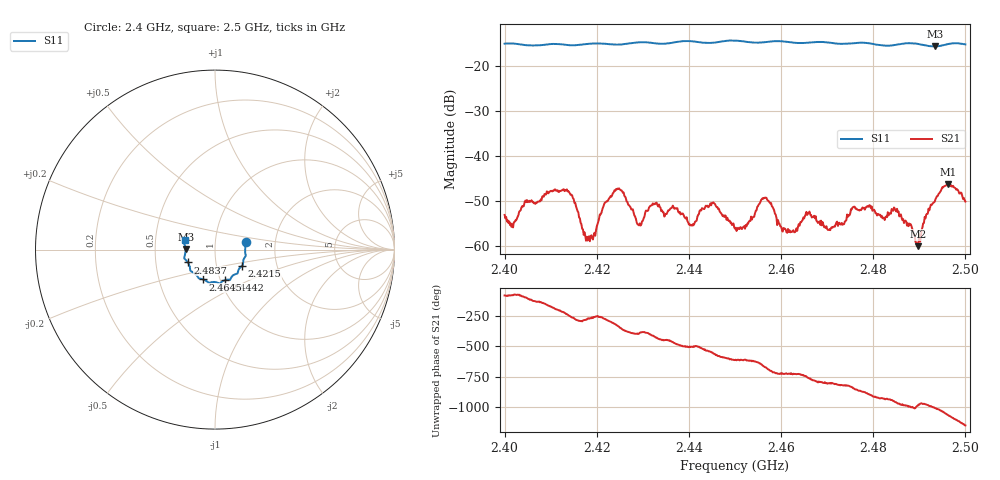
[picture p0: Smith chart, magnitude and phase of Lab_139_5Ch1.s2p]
# Hz S RI R 50
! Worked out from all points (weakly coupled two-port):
!   601 points, 2.4 GHz to 2.5 GHz, reference 50 ohm
!   highest |S21| = -46.19 dB at 2.4962 GHz (marker M1); lowest = -60.0 dB at 2.4897 GHz (marker M2)
!   lowest |S11| = -15.7 dB at 2.4933 GHz (marker M3), VSWR 1.39, Z = 35.9 + j0.109 ohm
!   |S11| at or under -10 dB: start of sweep to end of sweep
!   S12 and S22 are empty: the file has one direction only
!   S11 on the Smith chart (normalised r, x): 2.4 GHz: 1.41, +0.12; 2.4215 GHz: 1.33, -0.25; 2.4442 GHz: 1.05, -0.37; 2.4645 GHz: 0.83, -0.29; 2.4837 GHz: 0.73, -0.11; 2.5 GHz: 0.71, +0.08
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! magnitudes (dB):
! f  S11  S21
! 2.4 GHz  -15.1  -53.1
! 2.413 GHz  -15.3  -47.8
! 2.4167 GHz  -15.3  -55.1
! 2.419 GHz  -15.1  -58.2
! 2.4215 GHz  -15.1  -51.0
! 2.425 GHz  -15.3  -47.4
! 2.4292 GHz  -14.8  -55.4
! 2.4333 GHz  -15.1  -51.2
! 2.4405 GHz  -14.6  -55.4
! 2.4442 GHz  -15.0  -51.4
! 2.45 GHz  -14.4  -56.1
! 2.4563 GHz  -14.8  -49.3
! 2.4608 GHz  -14.6  -56.1
! 2.4645 GHz  -15.0  -54.5
! 2.4667 GHz  -14.8  -53.6
! 2.4705 GHz  -14.9  -56.2
! 2.4833 GHz  -15.5  -53.2
! 2.4837 GHz  -15.5  -52.6
! 2.4897 GHz  -15.1  -60.0
! 2.4933 GHz  -15.7  -50.1
! 2.4962 GHz  -15.2  -46.2
! 2.5 GHz  -15.3  -50.1
